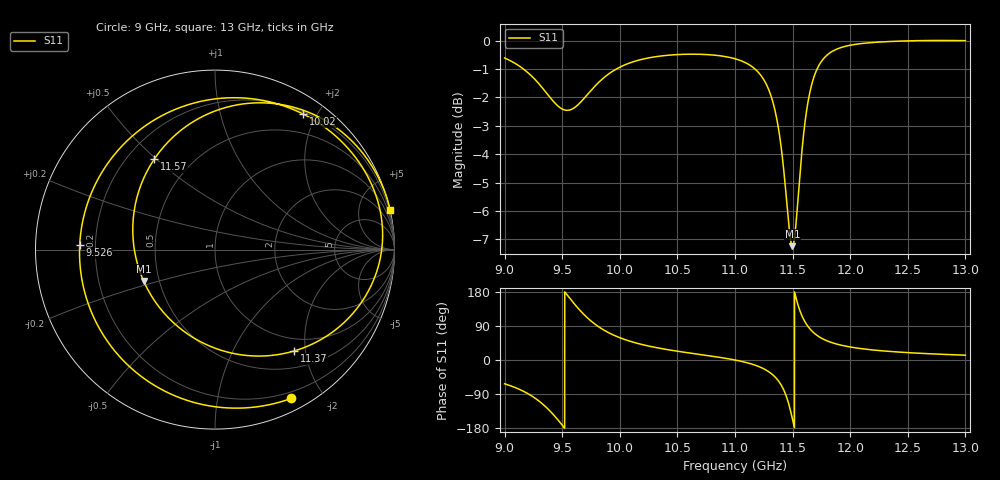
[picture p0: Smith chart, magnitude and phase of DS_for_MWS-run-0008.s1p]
! TOUCHSTONE file generated by CST DESIGN STUDIO
! Date and time: Tue Feb  4 18:32:35 2025
! Project name: C:\Work\MatlabApps\UnitCellOptimizationMatlab\CST\unitcell.cst
! Tree item: Tasks\Sweep1\SPara1\S-Parameters
! Header version: 2024
! Port assignment regex: !\s*Touchstone port\s*([0-9]+)\s*=\s*(CST MWS port|CST DES external port|CST DES block port)\s*(.+)\s* \(\"(.*)\"\)(\s*mode\s*([0-9]+))?.*
! Touchstone port assignment:
! Touchstone port 1 = CST DES external port 1 ("")
# GHz S MA R 50
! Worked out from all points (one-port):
!   4001 points, 9 GHz to 13 GHz, reference 50 ohm
!   lowest |S11| = -7.2 dB at 11.5 GHz (marker M1), VSWR 2.54, Z = 20.4 - j8.81 ohm
!   |S11| at or under -10 dB: nowhere
!   S11 on the Smith chart (normalised r, x): 9 GHz: 0.13, -1.63; 9.526 GHz: 0.14, +0.02; 10.02 GHz: 0.23, +1.82; 11.37 GHz: 0.77, -1.79; 11.57 GHz: 0.31, +0.49; 13 GHz: 0.03, +8.99
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9  0.9317 -62.8
9.145  0.8967 -79.8
9.294  0.8409 -107.3
9.394  0.7943 -134.6
9.5  0.7576 -171.9
9.526  0.7542 178.2
9.636  0.7705 137.2
9.732  0.8091 107.6
9.842  0.8533 82.6
10  0.8976 58.8
10.017  0.9011 56.9
10.223  0.9297 38.7
10.5  0.9446 23.2
11  0.9288 -0.0
11.236  0.8619 -21.1
11.309  0.803 -34.4
11.369  0.7165 -52.0
11.44  0.5449 -91.2
11.499  0.4346 -156.3
11.5  0.4347 -157.6
11.534  0.4876 159.0
11.571  0.6066 124.0
11.64  0.7925 86.0
11.747  0.9169 58.2
11.853  0.9592 44.7
12  0.9811 34.3
12.5  0.9986 19.5
13  0.9994 12.7
